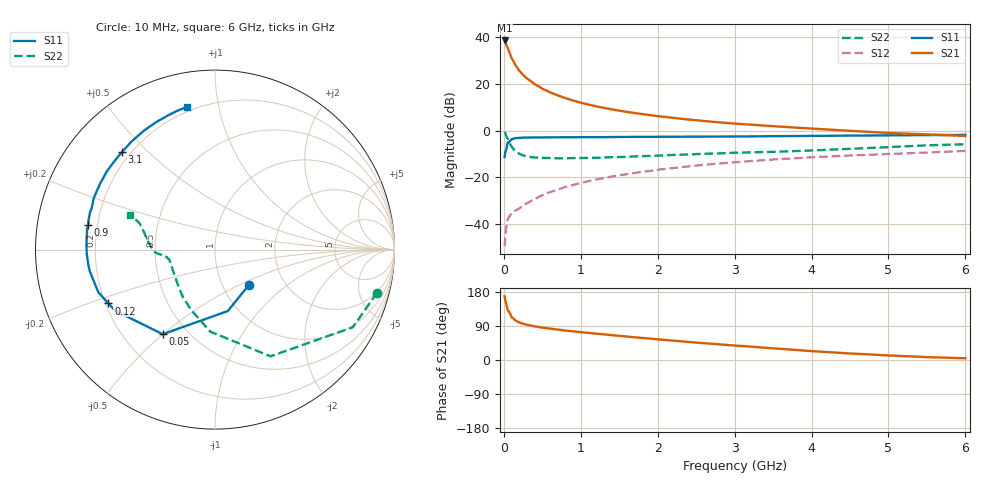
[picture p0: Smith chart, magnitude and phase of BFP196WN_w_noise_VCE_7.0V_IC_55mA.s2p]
! Infineon Technologies  Discrete & RF Semiconductors
! BFP196WN
! VCE =  7.0 V,  IC =  55 mA
! Common Emitter S-Parameters:  Jan 2017
# GHz  S  MA  R  50
!  f  S11  S21  S12  S22
! GHz  MAG  ANG  MAG  ANG  MAG  ANG  MAG  ANG
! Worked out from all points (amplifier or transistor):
!   77 points, 10 MHz to 6 GHz, reference 50 ohm
!   highest |S21| = 38.5 dB at 10 MHz (marker M1)
!   |S21| within 3 dB of that: start of sweep to 46.64 MHz
!   unconditionally stable (mu >= 1): 640 MHz to 2.595 GHz
!   at 130 MHz: K = 0.55, MSG = 32.0 dB, |S12| = -34.6 dB
!   at 2.2 GHz: K = 1.02, MAG = 9.9 dB, |S12| = -16.0 dB
!   at 6 GHz: K = 0.90, MSG = 3.2 dB, |S12| = -8.7 dB
!   lowest NFmin = 1.34 dB at 450 MHz
!   S11 on the Smith chart (normalised r, x): 10 MHz: 1.34, -0.56; 50 MHz: 0.37, -0.50; 120 MHz: 0.21, -0.23; 900 MHz: 0.16, +0.09; 3.1 GHz: 0.17, +0.42; 6 GHz: 0.17, +0.81
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0.01  0.2724 -45.6  84.29 168.0  0.0034 81.8  0.9343 -14.9
0.02  0.3497 -78.2  77.46 156.0  0.006 74.4  0.8815 -29.4
0.05  0.5539 -121.7  58.01 131.6  0.0126 55.2  0.6702 -62.5
0.1  0.6524 -148.5  35.57 113.0  0.017 50.1  0.4577 -93.3
0.12  0.665 -153.2  31.32 110.2  0.018 50.1  0.4147 -99.5
0.15  0.6918 -159.8  25.14 104.4  0.0196 50.0  0.3621 -111.4
0.2  0.6994 -166.2  19.18 99.2  0.0217 53.9  0.3205 -123.6
0.25  0.7086 -170.5  15.5 95.6  0.0254 55.5  0.2962 -131.8
0.3  0.711 -173.5  13 92.9  0.028 58.6  0.2801 -138.7
0.4  0.715 -178.1  9.84 88.7  0.0345 62.5  0.267 -147.3
0.5  0.7161 178.5  7.884 85.5  0.0417 64.6  0.262 -153.3
0.6  0.7176 175.8  6.588 82.7  0.0487 66.3  0.2594 -157.7
0.7  0.7186 173.4  5.642 80.3  0.0546 67.8  0.2564 -160.6
0.9  0.7196 168.9  4.387 75.6  0.0691 68.4  0.2589 -164.5
1.1  0.7244 165.1  3.602 71.5  0.0831 68.7  0.261 -167.6
1.3  0.7247 161.6  3.056 67.7  0.0968 68.2  0.2667 -169.1
1.5  0.7308 158.3  2.664 63.8  0.1111 67.2  0.272 -171.5
2.1  0.7387 148.7  1.956 52.9  0.152 63.6  0.2972 -174.3
3.1  0.7506 133.8  1.378 36.8  0.2164 55.7  0.3401 -178.7
4.1  0.7737 119.5  1.082 22.2  0.2742 47.4  0.3823 171.5
5.1  0.7931 108.7  0.878 11.1  0.3211 39.8  0.4515 160.4
6  0.8114 100.9  0.768 4.6  0.3685 33.7  0.5119 157.7
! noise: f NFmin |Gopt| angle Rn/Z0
0.45  1.34  0.54  -177  0.05
0.9  1.44  0.57  -170  0.06
1.9  2.36  0.69  -147  0.17
2.4  3.11  0.7  -140  0.29
